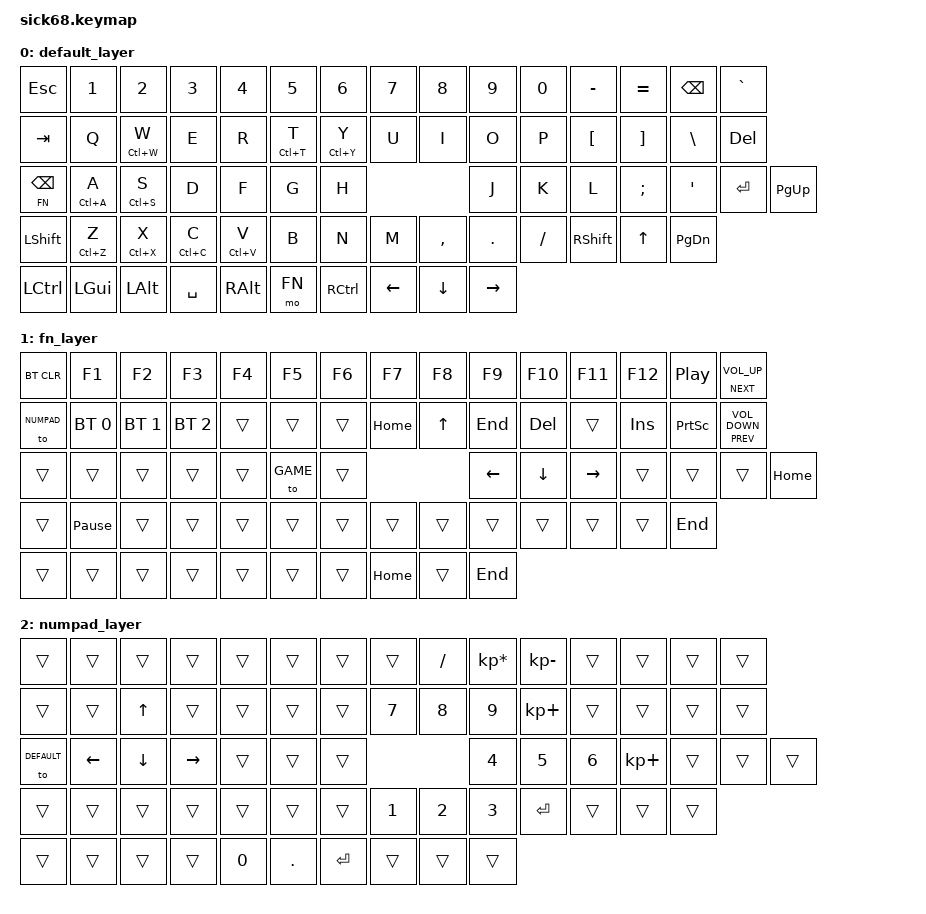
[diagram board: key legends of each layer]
/*
 * Copyright (c) 2020 The ZMK Contrwi7876butors
 *
 * SPDX-License-Identifier: MIT
 */

#include <behaviors.dtsi>
#include <dt-bindings/zmk/keys.h>
#include <dt-bindings/zmk/bt.h>
#include <dt-bindings/zmk/outputs.h>

#define DEFAULT 0
#define FN   1
#define NUMPAD   2
#define GAME   3


/ {
    behaviors {
        hota: hold-tap {
            compatible = "zmk,behavior-hold-tap";
            label = "HOLD-TAP";
            #binding-cells = <2>;
            tapping-term-ms = <400>;
            quick-tap-ms = <400>;
            flavor = "tap-preferred";
            bindings = <&kp>, <&kp>;
        };
    };
	
	keymap {
        compatible = "zmk,keymap";

// ---------------------------------------------------------------------------------------------------
// | ESC  |  1   |  2  |  3   |  4  |  5  |  6  |  7  |  8  |  9  |  0  |  -  |  =  |  BKSPC |  `   |
// | TAB   |  Q   |  W  |  E   |  R  |  T  |  Y  |  U  |  I  |  O  |  P  |  [  |  ]  |  \  | DEL  |
// | LOWER  |  A   |  S  |  D   |  F  |  G  |  H  |  J  |  K  |  L  |  ;  |  '  |   ENTER  | PGUP |
// | SHIFT   |  Z   |  X  |  C  |  V   |  B  |  N  |  M  |  ,  |  .  |  /  |  RSHFT  |  UP | PGDN |
// | LCTRL   | LGUI | LALT |   SPACE   | FN  |    SPACE    | RALT | LOWER | RCTRL | LFT | DWN | RGHT |
// -------------------------------------------        ------------------------------------------------------

        default_layer {
            bindings = <
    &kp ESC   &kp N1   &kp N2   &kp N3    &kp N4 &kp N5 &kp N6 &kp N7    &kp N8   &kp N9    &kp N0    &kp MINUS &kp EQUAL &kp BSPC &kp GRAVE
    &kp TAB   &kp Q    &hota LC(W) W    &kp E     &kp R  &hota LC(T) T  &hota LC(Y) Y     &kp U    &kp I     &kp O     &kp P     &kp LBKT  &kp RBKT &kp BSLH &kp DEL
    &lt FN BSPC  &hota LC(A) A    &hota LC(S) S    &kp D     &kp F  &kp G         &kp H     &kp J    &kp K     &kp L     &kp SEMI  &kp SQT   &kp RET  &kp PG_UP
    &kp LSHFT &hota LC(Z) Z    &hota LC(X) X    &hota LC(C) C     &hota LC(V) V  &kp B         &kp N     &kp M    &kp COMMA &kp DOT   &kp FSLH  &kp RSHFT &kp UP   &kp PG_DN
    &kp LCTRL &kp LGUI &kp LALT &kp SPACE &kp RALT &mo FN     &kp RCTRL &kp LEFT  &kp DOWN  &kp RIGHT
            >;
        };

// ----------------------------------------------     -----------------------------------------------------
// |BT_CLR|  F1  |  F2 |  F3  |  F4 |  F5 |  F6 |     |  F7 |  F8 |  F9 | F10 | F11 | F12 | INSERT |C_VOLUME_UP|
// |NUMPAD       | BT-0 | BT-1| BT-2 |     |     |       |     | HOME | UP | END | DELETE|     |    | PRINTSCREEN |C_VOLUME_DOWN|
// |        |      |     |      |     |     |       |     | LEFT | DOWN |  IRIGHT   |     |     | PLAY_PAUSE | HOME  |
// |         |PAUSE_BREAK|     |     |      |     |       |     |     |     |     |     |         |     | END |
// |         |      |      |           |     |       |             |      |    |       |     |     |      |
// -------------------------------------------       ------------------------------------------------------

        fn_layer {
            bindings = <
    &bt BT_CLR &kp F1       &kp F2       &kp F3       &kp F4 &kp F5 &kp F6 &kp F7 &kp F8 &kp F9 &kp F10 &kp F11 &kp F12 &kp C_PLAY_PAUSE &hota C_NEXT C_VOLUME_UP
    &to NUMPAD     &bt BT_SEL 0 &bt BT_SEL 1 &bt BT_SEL 2 &trans &trans        &trans &kp HOME &kp UP &kp END  &kp DELETE  &trans  &kp INSERT &kp PRINTSCREEN &hota C_PREV C_VOLUME_DOWN
    &trans     &trans       &trans       &trans       &trans &to GAME        &trans &kp LEFT &kp DOWN &kp RIGHT  &trans  &trans  &trans &kp HOME
    &trans     &kp PAUSE_BREAK  &trans       &trans       &trans &trans        &trans &trans &trans &trans  &trans  &trans  &trans &kp END
    &trans     &trans       &trans       &trans       &trans               &trans &trans &kp HOME &trans  &kp END
            >;
        };

// ----------------------------------------------     -----------------------------------------------------
// |	|  	  |  	 |  	  |  	 |  	 |  	 |     |  	 |  	 |  	 | 	 | 	 | 	 | 	|	|
// |       | 	| 	| 	 |     |     |       |     | 	 | 	 | 	 | 	|     |    | 	 |	|
// |	|      |     |      |     |     |       |     | 	 | 	 |  	   |     |     |          | 	  |
// |         |      |     |     |      |     |       |     |     |     |     |     |         |     | 	 |
// |         |      |      |           |     |       |             |      |    |       |     |     |      |
// -------------------------------------------       ------------------------------------------------------

        numpad_layer {
            bindings = <
    &trans	&trans	&trans	&trans	&trans	&trans	&trans	&trans	&kp FSLH  &kp KP_MULTIPLY  &kp KP_MINUS  &trans  &trans  &trans  &trans 
    &trans	&trans	&kp UP	&trans	&trans	&trans	&trans	&kp N7	&kp N8	&kp N9	&kp KP_PLUS	&trans	&trans	&trans	&trans  
    &to DEFAULT		&kp LEFT	&kp DOWN	&kp RIGHT	&trans	&trans	&trans	&kp N4	&kp N5	&kp N6	&kp KP_PLUS	&trans	&trans  &trans  
    &trans	&trans	&trans	&trans	&trans	&trans	&trans	&kp N1	&kp N2	&kp N3	&kp ENTER  &trans  &trans &trans	
    &trans	&trans	&trans	&trans	&kp N0	&kp DOT	&kp ENTER	&trans	&trans	&trans
            >;
        };
    };
	
		game_layer {
            bindings = <
    &kp ESC   &kp N1   &kp N2   &kp N3    &kp N4 &kp N5 &kp N6 &kp N7    &kp N8   &kp N9    &kp N0    &kp MINUS &kp EQUAL &kp BSPC &kp GRAVE
    &kp TAB   &kp Q    &kp W    &kp E     &kp R  &kp T  &kp Y     &kp U    &kp I     &kp O     &kp P     &kp LBKT  &kp RBKT &kp BSLH &kp DEL
    &to DEFAULT  &kp A    &kp S    &kp D     &kp F  &kp G         &kp H     &kp J    &kp K     &kp L     &kp SEMI  &kp SQT   &kp RET  &kp PG_UP
    &kp LSHFT &kp Z    &kp X    &kp C     &kp V  &kp B         &kp N     &kp M    &kp COMMA &kp DOT   &kp FSLH  &kp RSHFT &kp UP   &kp PG_DN
    &kp LCTRL &none &kp LALT &kp SPACE &kp RALT &none     &kp RCTRL &kp LEFT  &kp DOWN  &kp RIGHT
            >;
        };
};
